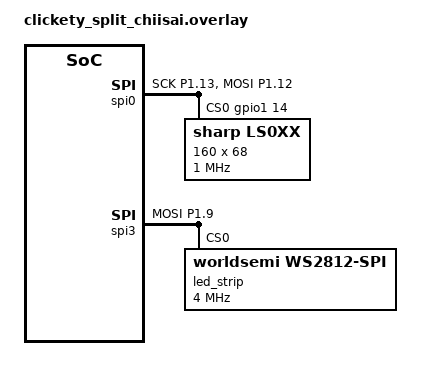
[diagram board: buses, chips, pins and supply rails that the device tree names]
#include <dt-bindings/led/led.h>

&pinctrl {
    spi0_default: spi0_default {
        group1 {
            psels = <NRF_PSEL(SPIM_SCK, 1, 13)>,
                <NRF_PSEL(SPIM_MOSI, 1, 12)>;
        };
    };
    spi0_sleep: spi0_sleep {
        group1 {
            psels = <NRF_PSEL(SPIM_SCK, 1, 13)>,
                <NRF_PSEL(SPIM_MOSI, 1, 12)>;
            low-power-enable;
        };
    };

    spi3_default: spi3_default {
        group1 {
            psels = <NRF_PSEL(SPIM_MOSI, 1, 9)>;
        };
    };

    spi3_sleep: spi3_sleep {
        group1 {
            psels = <NRF_PSEL(SPIM_MOSI, 1, 9)>;
            low-power-enable;
        };
    };
};

&spi0 {
    status = "okay";
    compatible = "nordic,nrf-spim";
    pinctrl-0 = <&spi0_default>;
    pinctrl-1 = <&spi0_sleep>;
    pinctrl-names = "default", "sleep";
    cs-gpios = <&gpio1 14 GPIO_ACTIVE_HIGH>;

    ls0xx: ls0xx@0 {
        compatible = "sharp,ls0xx";
        spi-max-frequency = <1000000>;
        reg = <0>;
        width = <160>;
        height = <68>;
    };
};

&spi3 {
    compatible = "nordic,nrf-spim";
    status = "okay";

    pinctrl-0 = <&spi3_default>;
    pinctrl-1 = <&spi3_sleep>;
    pinctrl-names = "default", "sleep";

    led_strip: ws2812@0 {
        compatible = "worldsemi,ws2812-spi";

        /* SPI */
        reg = <0>; /* ignored, but necessary for SPI bindings */
        spi-max-frequency = <4000000>;

        /* WS2812 */
        chain-length = <20>; /* arbitrary; change at will */
        spi-one-frame = <0x70>;
        spi-zero-frame = <0x40>;

        color-mapping = <LED_COLOR_ID_GREEN LED_COLOR_ID_RED LED_COLOR_ID_BLUE>;
    };
};

/ {
    chosen {
        zephyr,display = &ls0xx;
        zmk,underglow = &led_strip;
    };
};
